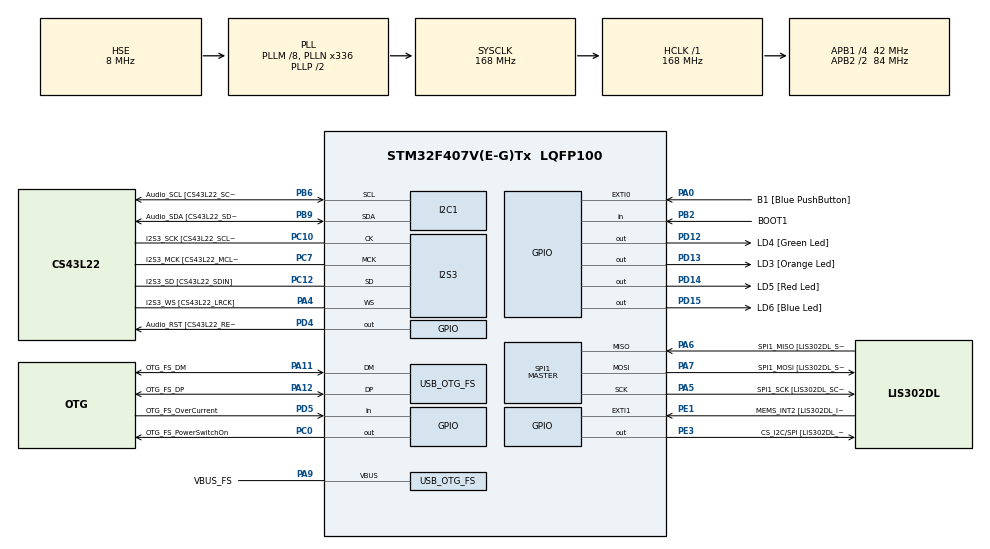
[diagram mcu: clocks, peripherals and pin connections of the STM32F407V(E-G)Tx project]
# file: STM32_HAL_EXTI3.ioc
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I2S3.AudioFreq-Half_Duplex_Master=I2S_AUDIOFREQ_96K
I2S3.ErrorAudioFreq=-2.34 %
I2S3.ErrorAudioFreq-Half_Duplex_Master=0.8 %
I2S3.FullDuplexMode=I2S_FULLDUPLEXMODE_DISABLE
I2S3.Instance=SPI$Index
I2S3.RealAudioFreq=93.75 KHz
I2S3.RealAudioFreq-Half_Duplex_Master=96.774 KHz
I2S3.VirtualMode=I2S_MODE_MASTER
Mcu.Family=STM32F4
Mcu.Name=STM32F407V(E-G)Tx
Mcu.Package=LQFP100
NVIC.EXTI0_IRQn=true\:0\:0\:false\:false\:true\:true\:true\:true
NVIC.OTG_FS_IRQn=true\:0\:0\:false\:false\:true\:true\:true\:true
NVIC.PriorityGroup=NVIC_PRIORITYGROUP_0
PA0-WKUP.GPIO_Label=B1 [Blue PushButton]
PA0-WKUP.GPIO_ModeDefaultEXTI=GPIO_MODE_IT_RISING_FALLING
PA0-WKUP.GPIO_PuPd=GPIO_PULLDOWN
PA0-WKUP.Signal=GPXTI0
PA10.GPIO_Label=OTG_FS_ID
PA10.GPIO_Mode=GPIO_MODE_AF_PP
PA10.GPIO_PuPd=GPIO_NOPULL
PA10.GPIO_Speed=GPIO_SPEED_FREQ_LOW
PA10.Signal=USB_OTG_FS_ID
PA11.GPIO_Label=OTG_FS_DM
PA11.GPIO_Mode=GPIO_MODE_AF_PP
PA11.GPIO_PuPd=GPIO_NOPULL
PA11.GPIO_Speed=GPIO_SPEED_FREQ_LOW
PA11.Mode=Host_Only
PA11.Signal=USB_OTG_FS_DM
PA12.GPIO_Label=OTG_FS_DP
PA12.GPIO_Mode=GPIO_MODE_AF_PP
PA12.GPIO_PuPd=GPIO_NOPULL
PA12.GPIO_Speed=GPIO_SPEED_FREQ_LOW
PA12.Mode=Host_Only
PA12.Signal=USB_OTG_FS_DP
PA13.GPIO_Label=SWDIO
PA13.Mode=Serial_Wire
PA13.Signal=SYS_JTMS-SWDIO
PA14.GPIO_Label=SWCLK
PA14.Mode=Serial_Wire
PA14.Signal=SYS_JTCK-SWCLK
PA4.GPIO_Label=I2S3_WS [CS43L22_LRCK]
PA4.GPIO_Mode=GPIO_MODE_AF_PP
PA4.GPIO_PuPd=GPIO_NOPULL
PA4.GPIO_Speed=GPIO_SPEED_FREQ_LOW
PA4.Mode=Half_Duplex_Master
PA4.Signal=I2S3_WS
PA5.GPIO_Label=SPI1_SCK [LIS302DL_SCL/SPC]
PA5.GPIO_Mode=GPIO_MODE_AF_PP
PA5.GPIO_PuPd=GPIO_NOPULL
PA5.GPIO_Speed=GPIO_SPEED_FREQ_LOW
PA5.Mode=Full_Duplex_Master
PA5.Signal=SPI1_SCK
PA6.GPIO_Label=SPI1_MISO [LIS302DL_SDO]
PA6.GPIO_Mode=GPIO_MODE_AF_PP
PA6.GPIO_PuPd=GPIO_NOPULL
PA6.GPIO_Speed=GPIO_SPEED_FREQ_LOW
PA6.Mode=Full_Duplex_Master
PA6.Signal=SPI1_MISO
PA7.GPIO_Label=SPI1_MOSI [LIS302DL_SDA/SDI/SDO]
PA7.GPIO_Mode=GPIO_MODE_AF_PP
PA7.GPIO_PuPd=GPIO_NOPULL
PA7.GPIO_Speed=GPIO_SPEED_FREQ_LOW
PA7.Mode=Full_Duplex_Master
PA7.Signal=SPI1_MOSI
PA9.GPIO_Label=VBUS_FS
PA9.GPIO_Mode=GPIO_MODE_INPUT
PA9.GPIO_PuPd=GPIO_NOPULL
PA9.Mode=Activate_VBUS
PA9.Signal=USB_OTG_FS_VBUS
PB10.GPIO_Label=CLK_IN [MP45DT02_CLK]
PB10.GPIO_Mode=GPIO_MODE_AF_PP
PB10.GPIO_PuPd=GPIO_NOPULL
PB10.GPIO_Speed=GPIO_SPEED_FREQ_LOW
PB10.Signal=I2S2_CK
PB2.GPIO_Label=BOOT1
PB2.GPIO_Mode=GPIO_MODE_INPUT
PB2.GPIO_PuPd=GPIO_NOPULL
PB2.Signal=GPIO_Input
PB3.GPIO_Label=SWO
PB3.Signal=SYS_JTDO-SWO
PB6.GPIO_Label=Audio_SCL [CS43L22_SCL]
PB6.GPIO_Mode=GPIO_MODE_AF_OD
PB6.GPIO_Pu=GPIO_PULLUP
PB6.GPIO_PuPd=GPIO_NOPULL
PB6.GPIO_Speed=GPIO_SPEED_FREQ_LOW
PB6.Mode=I2C
PB6.Signal=I2C1_SCL
PB9.GPIO_Label=Audio_SDA [CS43L22_SDA]
PB9.GPIO_Mode=GPIO_MODE_AF_OD
PB9.GPIO_Pu=GPIO_PULLUP
PB9.GPIO_PuPd=GPIO_NOPULL
PB9.GPIO_Speed=GPIO_SPEED_FREQ_LOW
PB9.Mode=I2C
PB9.Signal=I2C1_SDA
PC0.GPIO_Label=OTG_FS_PowerSwitchOn
PC0.GPIO_PuPd=GPIO_NOPULL
PC0.GPIO_Speed=GPIO_SPEED_FREQ_LOW
PC0.PinState=GPIO_PIN_SET
PC0.Signal=GPIO_Output
PC10.GPIO_Label=I2S3_SCK [CS43L22_SCLK]
PC10.GPIO_Mode=GPIO_MODE_AF_PP
PC10.GPIO_PuPd=GPIO_NOPULL
PC10.GPIO_Speed=GPIO_SPEED_FREQ_LOW
PC10.Mode=Half_Duplex_Master
PC10.Signal=I2S3_CK
PC12.GPIO_Label=I2S3_SD [CS43L22_SDIN]
PC12.GPIO_Mode=GPIO_MODE_AF_PP
PC12.GPIO_PuPd=GPIO_NOPULL
PC12.GPIO_Speed=GPIO_SPEED_FREQ_LOW
PC12.Mode=Half_Duplex_Master
PC12.Signal=I2S3_SD
PC14-OSC32_IN.GPIO_Label=PC14-OSC32_IN
PC14-OSC32_IN.Mode=LSE-External-Oscillator
PC14-OSC32_IN.Signal=RCC_OSC32_IN
PC15-OSC32_OUT.GPIO_Label=PC15-OSC32_OUT
PC15-OSC32_OUT.Mode=LSE-External-Oscillator
PC15-OSC32_OUT.Signal=RCC_OSC32_OUT
PC3.GPIO_Label=PDM_OUT [MP45DT02_DOUT]
PC3.GPIO_Mode=GPIO_MODE_AF_PP
PC3.GPIO_PuPd=GPIO_NOPULL
PC3.GPIO_Speed=GPIO_SPEED_FREQ_LOW
PC3.Signal=I2S2_SD
PC7.GPIO_Label=I2S3_MCK [CS43L22_MCLK]
PC7.GPIO_Mode=GPIO_MODE_AF_PP
PC7.GPIO_PuPd=GPIO_NOPULL
PC7.GPIO_Speed=GPIO_SPEED_FREQ_LOW
PC7.Mode=Master_Clock_Activated
PC7.Signal=I2S3_MCK
PD12.GPIO_Label=LD4 [Green Led]
PD12.GPIO_PuPd=GPIO_NOPULL
PD12.GPIO_Speed=GPIO_SPEED_FREQ_LOW
PD12.Signal=GPIO_Output
PD13.GPIO_Label=LD3 [Orange Led]
PD13.GPIO_PuPd=GPIO_NOPULL
PD13.GPIO_Speed=GPIO_SPEED_FREQ_LOW
PD13.Signal=GPIO_Output
PD14.GPIO_Label=LD5 [Red Led]
PD14.GPIO_PuPd=GPIO_NOPULL
PD14.GPIO_Speed=GPIO_SPEED_FREQ_LOW
PD14.Signal=GPIO_Output
PD15.GPIO_Label=LD6 [Blue Led]
PD15.GPIO_PuPd=GPIO_NOPULL
PD15.GPIO_Speed=GPIO_SPEED_FREQ_LOW
PD15.Signal=GPIO_Output
PD4.GPIO_Label=Audio_RST [CS43L22_RESET]
PD4.GPIO_PuPd=GPIO_NOPULL
PD4.GPIO_Speed=GPIO_SPEED_FREQ_LOW
PD4.Signal=GPIO_Output
PD5.GPIO_Label=OTG_FS_OverCurrent
PD5.GPIO_Mode=GPIO_MODE_INPUT
PD5.GPIO_PuPd=GPIO_NOPULL
PD5.Signal=GPIO_Input
PE1.GPIO_Label=MEMS_INT2 [LIS302DL_INT2]
PE1.GPIO_ModeDefaultEXTI=GPIO_MODE_EVT_RISING
PE1.GPIO_PuPd=GPIO_NOPULL
PE1.Signal=GPXTI1
PE3.GPIO_Label=CS_I2C/SPI [LIS302DL_CS_I2C/SPI]
PE3.GPIO_PuPd=GPIO_NOPULL
PE3.GPIO_Speed=GPIO_SPEED_FREQ_LOW
PE3.Signal=GPIO_Output
PH0-OSC_IN.GPIO_Label=PH0-OSC_IN
PH0-OSC_IN.Mode=HSE-External-Oscillator
PH0-OSC_IN.Signal=RCC_OSC_IN
PH1-OSC_OUT.GPIO_Label=PH1-OSC_OUT
PH1-OSC_OUT.Mode=HSE-External-Oscillator
PH1-OSC_OUT.Signal=RCC_OSC_OUT
ProjectManager.HeapSize=0x200
ProjectManager.StackSize=0x400
ProjectManager.TargetToolchain=STM32CubeIDE
RCC.48MHZClocksFreq_Value=48000000
RCC.AHBFreq_Value=168000000
RCC.APB1CLKDivider=RCC_HCLK_DIV4
RCC.APB1Freq_Value=42000000
RCC.APB1TimFreq_Value=84000000
RCC.APB2CLKDivider=RCC_HCLK_DIV2
RCC.APB2Freq_Value=84000000
RCC.APB2TimFreq_Value=168000000
RCC.CortexFreq_Value=168000000
RCC.HCLKFreq_Value=168000000
RCC.HSE_VALUE=8000000
RCC.HSI_VALUE=16000000
RCC.PLLM=8
RCC.PLLN=336
RCC.PLLQ=7
RCC.SYSCLKFreq_VALUE=168000000
RCC.SYSCLKSource=RCC_SYSCLKSOURCE_PLLCLK
RCC.VCOOutputFreq_Value=336000000
SPI1.BaudRatePrescaler-Full_Duplex_Master=SPI_BAUDRATEPRESCALER_2
SPI1.CalculateBaudRate-Full_Duplex_Master=42.0 MBits/s
SPI1.Direction=SPI_DIRECTION_2LINES
SPI1.Mode=SPI_MODE_MASTER
SPI1.Mode-Full_Duplex_Master=SPI_MODE_MASTER
SPI1.VirtualType=VM_MASTER
USB_HOST.BSP.number=1
USB_HOST.USBH_HandleTypeDef-CDC_FS=hUsbHostFS
USB_HOST.VirtualModeFS=Cdc
USB_HOST0.BSP.STBoard=false
USB_HOST0.BSP.api=Unknown
USB_HOST0.BSP.instance=PC0
USB_HOST0.BSP.ip=GPIO
USB_HOST0.BSP.mode=Output
USB_HOST0.BSP.name=Drive_VBUS_FS
USB_HOST0.BSP.solution=PC0
USB_OTG_FS.VirtualMode=Host_Only
USB_OTG_FS.phy_itface=HCD_PHY_EMBEDDED
VP_USB_HOST_VS_USB_HOST_CDC_FS.Mode=CDC_FS
board=STM32F407G-DISC1

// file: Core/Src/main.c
/* USER CODE BEGIN Header */
/**
  ******************************************************************************
  * @file           : main.c
  * @brief          : Main program body
  ******************************************************************************
  * @attention
  *
  * Copyright (c) 2023 STMicroelectronics.
  * All rights reserved.
  *
  * This software is licensed under terms that can be found in the LICENSE file
  * in the root directory of this software component.
  * If no LICENSE file comes with this software, it is provided AS-IS.
  *
  ******************************************************************************
  */
/* USER CODE END Header */
#include "main.h"
#include "usb_host.h"

I2C_HandleTypeDef hi2c1;

I2S_HandleTypeDef hi2s3;

SPI_HandleTypeDef hspi1;

void SystemClock_Config(void);
static void MX_GPIO_Init(void);
static void MX_I2C1_Init(void);
static void MX_I2S3_Init(void);
static void MX_SPI1_Init(void);
void MX_USB_HOST_Process(void);

/* USER CODE BEGIN PFP */
int count = 0;
int i = 0;
/* USER CODE END PFP */

/* USER CODE BEGIN 0 */
void HAL_GPIO_EXTI_Callback(uint16_t GPIO_Pin)
{
	if(HAL_GPIO_ReadPin(GPIOA,GPIO_PIN_0))
	{
		if(i == 0)
		{
			count = 500;
			HAL_GPIO_WritePin(GPIOD,GPIO_PIN_13,1);
			i++;
		}
		else if(i == 1)
		{
			count = 1000;
			HAL_GPIO_WritePin(GPIOD,GPIO_PIN_13,1);
			i--;
		}

	}
	else
	{
		HAL_GPIO_WritePin(GPIOD,GPIO_PIN_13,0);
	}
}
/* USER CODE END 0 */

int main(void)
{

  /* MCU Configuration--------------------------------------------------------*/

  /* Reset of all peripherals, Initializes the Flash interface and the Systick. */
  HAL_Init();

  /* Configure the system clock */
  SystemClock_Config();

  /* Initialize all configured peripherals */
  MX_GPIO_Init();
  MX_I2C1_Init();
  MX_I2S3_Init();
  MX_SPI1_Init();
  MX_USB_HOST_Init();

  /* Infinite loop */
  while (1)
  {
    MX_USB_HOST_Process();

    /* USER CODE BEGIN 3 */
    HAL_GPIO_TogglePin(GPIOD,GPIO_PIN_12);
    HAL_Delay(count);
  }
  /* USER CODE END 3 */
}

void SystemClock_Config(void)
{
  RCC_OscInitTypeDef RCC_OscInitStruct = {0};
  RCC_ClkInitTypeDef RCC_ClkInitStruct = {0};

  /** Configure the main internal regulator output voltage
  */
  __HAL_RCC_PWR_CLK_ENABLE();
  __HAL_PWR_VOLTAGESCALING_CONFIG(PWR_REGULATOR_VOLTAGE_SCALE1);

  /** Initializes the RCC Oscillators according to the specified parameters
  * in the RCC_OscInitTypeDef structure.
  */
  RCC_OscInitStruct.OscillatorType = RCC_OSCILLATORTYPE_HSE;
  RCC_OscInitStruct.HSEState = RCC_HSE_ON;
  RCC_OscInitStruct.PLL.PLLState = RCC_PLL_ON;
  RCC_OscInitStruct.PLL.PLLSource = RCC_PLLSOURCE_HSE;
  RCC_OscInitStruct.PLL.PLLM = 8;
  RCC_OscInitStruct.PLL.PLLN = 336;
  RCC_OscInitStruct.PLL.PLLP = RCC_PLLP_DIV2;
  RCC_OscInitStruct.PLL.PLLQ = 7;
  if (HAL_RCC_OscConfig(&RCC_OscInitStruct) != HAL_OK)
  {
    Error_Handler();
  }

  /** Initializes the CPU, AHB and APB buses clocks
  */
  RCC_ClkInitStruct.ClockType = RCC_CLOCKTYPE_HCLK|RCC_CLOCKTYPE_SYSCLK
                              |RCC_CLOCKTYPE_PCLK1|RCC_CLOCKTYPE_PCLK2;
  RCC_ClkInitStruct.SYSCLKSource = RCC_SYSCLKSOURCE_PLLCLK;
  RCC_ClkInitStruct.AHBCLKDivider = RCC_SYSCLK_DIV1;
  RCC_ClkInitStruct.APB1CLKDivider = RCC_HCLK_DIV4;
  RCC_ClkInitStruct.APB2CLKDivider = RCC_HCLK_DIV2;

  if (HAL_RCC_ClockConfig(&RCC_ClkInitStruct, FLASH_LATENCY_5) != HAL_OK)
  {
    Error_Handler();
  }
}

static void MX_I2C1_Init(void)
{

  hi2c1.Instance = I2C1;
  hi2c1.Init.ClockSpeed = 100000;
  hi2c1.Init.DutyCycle = I2C_DUTYCYCLE_2;
  hi2c1.Init.OwnAddress1 = 0;
  hi2c1.Init.AddressingMode = I2C_ADDRESSINGMODE_7BIT;
  hi2c1.Init.DualAddressMode = I2C_DUALADDRESS_DISABLE;
  hi2c1.Init.OwnAddress2 = 0;
  hi2c1.Init.GeneralCallMode = I2C_GENERALCALL_DISABLE;
  hi2c1.Init.NoStretchMode = I2C_NOSTRETCH_DISABLE;
  if (HAL_I2C_Init(&hi2c1) != HAL_OK)
  {
    Error_Handler();
  }

}

static void MX_I2S3_Init(void)
{

  hi2s3.Instance = SPI3;
  hi2s3.Init.Mode = I2S_MODE_MASTER_TX;
  hi2s3.Init.Standard = I2S_STANDARD_PHILIPS;
  hi2s3.Init.DataFormat = I2S_DATAFORMAT_16B;
  hi2s3.Init.MCLKOutput = I2S_MCLKOUTPUT_ENABLE;
  hi2s3.Init.AudioFreq = I2S_AUDIOFREQ_96K;
  hi2s3.Init.CPOL = I2S_CPOL_LOW;
  hi2s3.Init.ClockSource = I2S_CLOCK_PLL;
  hi2s3.Init.FullDuplexMode = I2S_FULLDUPLEXMODE_DISABLE;
  if (HAL_I2S_Init(&hi2s3) != HAL_OK)
  {
    Error_Handler();
  }

}

static void MX_SPI1_Init(void)
{

  /* SPI1 parameter configuration*/
  hspi1.Instance = SPI1;
  hspi1.Init.Mode = SPI_MODE_MASTER;
  hspi1.Init.Direction = SPI_DIRECTION_2LINES;
  hspi1.Init.DataSize = SPI_DATASIZE_8BIT;
  hspi1.Init.CLKPolarity = SPI_POLARITY_LOW;
  hspi1.Init.CLKPhase = SPI_PHASE_1EDGE;
  hspi1.Init.NSS = SPI_NSS_SOFT;
  hspi1.Init.BaudRatePrescaler = SPI_BAUDRATEPRESCALER_2;
  hspi1.Init.FirstBit = SPI_FIRSTBIT_MSB;
  hspi1.Init.TIMode = SPI_TIMODE_DISABLE;
  hspi1.Init.CRCCalculation = SPI_CRCCALCULATION_DISABLE;
  hspi1.Init.CRCPolynomial = 10;
  if (HAL_SPI_Init(&hspi1) != HAL_OK)
  {
    Error_Handler();
  }

}

static void MX_GPIO_Init(void)
{
  GPIO_InitTypeDef GPIO_InitStruct = {0};

  /* GPIO Ports Clock Enable */
  __HAL_RCC_GPIOE_CLK_ENABLE();
  __HAL_RCC_GPIOC_CLK_ENABLE();
  __HAL_RCC_GPIOH_CLK_ENABLE();
  __HAL_RCC_GPIOA_CLK_ENABLE();
  __HAL_RCC_GPIOB_CLK_ENABLE();
  __HAL_RCC_GPIOD_CLK_ENABLE();

  /*Configure GPIO pin Output Level */
  HAL_GPIO_WritePin(CS_I2C_SPI_GPIO_Port, CS_I2C_SPI_Pin, GPIO_PIN_RESET);

  /*Configure GPIO pin Output Level */
  HAL_GPIO_WritePin(OTG_FS_PowerSwitchOn_GPIO_Port, OTG_FS_PowerSwitchOn_Pin, GPIO_PIN_SET);

  /*Configure GPIO pin Output Level */
  HAL_GPIO_WritePin(GPIOD, LD4_Pin|LD3_Pin|LD5_Pin|LD6_Pin
                          |Audio_RST_Pin, GPIO_PIN_RESET);

  /*Configure GPIO pin : CS_I2C_SPI_Pin */
  GPIO_InitStruct.Pin = CS_I2C_SPI_Pin;
  GPIO_InitStruct.Mode = GPIO_MODE_OUTPUT_PP;
  GPIO_InitStruct.Pull = GPIO_NOPULL;
  GPIO_InitStruct.Speed = GPIO_SPEED_FREQ_LOW;
  HAL_GPIO_Init(CS_I2C_SPI_GPIO_Port, &GPIO_InitStruct);

  /*Configure GPIO pin : OTG_FS_PowerSwitchOn_Pin */
  GPIO_InitStruct.Pin = OTG_FS_PowerSwitchOn_Pin;
  GPIO_InitStruct.Mode = GPIO_MODE_OUTPUT_PP;
  GPIO_InitStruct.Pull = GPIO_NOPULL;
  GPIO_InitStruct.Speed = GPIO_SPEED_FREQ_LOW;
  HAL_GPIO_Init(OTG_FS_PowerSwitchOn_GPIO_Port, &GPIO_InitStruct);

  /*Configure GPIO pin : PDM_OUT_Pin */
  GPIO_InitStruct.Pin = PDM_OUT_Pin;
  GPIO_InitStruct.Mode = GPIO_MODE_AF_PP;
  GPIO_InitStruct.Pull = GPIO_NOPULL;
  GPIO_InitStruct.Speed = GPIO_SPEED_FREQ_LOW;
  GPIO_InitStruct.Alternate = GPIO_AF5_SPI2;
  HAL_GPIO_Init(PDM_OUT_GPIO_Port, &GPIO_InitStruct);

  /*Configure GPIO pin : B1_Pin */
  GPIO_InitStruct.Pin = B1_Pin;
  GPIO_InitStruct.Mode = GPIO_MODE_IT_RISING_FALLING;
  GPIO_InitStruct.Pull = GPIO_PULLDOWN;
  HAL_GPIO_Init(B1_GPIO_Port, &GPIO_InitStruct);

  /*Configure GPIO pin : BOOT1_Pin */
  GPIO_InitStruct.Pin = BOOT1_Pin;
  GPIO_InitStruct.Mode = GPIO_MODE_INPUT;
  GPIO_InitStruct.Pull = GPIO_NOPULL;
  HAL_GPIO_Init(BOOT1_GPIO_Port, &GPIO_InitStruct);

  /*Configure GPIO pin : CLK_IN_Pin */
  GPIO_InitStruct.Pin = CLK_IN_Pin;
  GPIO_InitStruct.Mode = GPIO_MODE_AF_PP;
  GPIO_InitStruct.Pull = GPIO_NOPULL;
  GPIO_InitStruct.Speed = GPIO_SPEED_FREQ_LOW;
  GPIO_InitStruct.Alternate = GPIO_AF5_SPI2;
  HAL_GPIO_Init(CLK_IN_GPIO_Port, &GPIO_InitStruct);

  /*Configure GPIO pins : LD4_Pin LD3_Pin LD5_Pin LD6_Pin
                           Audio_RST_Pin */
  GPIO_InitStruct.Pin = LD4_Pin|LD3_Pin|LD5_Pin|LD6_Pin
                          |Audio_RST_Pin;
  GPIO_InitStruct.Mode = GPIO_MODE_OUTPUT_PP;
  GPIO_InitStruct.Pull = GPIO_NOPULL;
  GPIO_InitStruct.Speed = GPIO_SPEED_FREQ_LOW;
  HAL_GPIO_Init(GPIOD, &GPIO_InitStruct);

  /*Configure GPIO pin : OTG_FS_OverCurrent_Pin */
  GPIO_InitStruct.Pin = OTG_FS_OverCurrent_Pin;
  GPIO_InitStruct.Mode = GPIO_MODE_INPUT;
  GPIO_InitStruct.Pull = GPIO_NOPULL;
  HAL_GPIO_Init(OTG_FS_OverCurrent_GPIO_Port, &GPIO_InitStruct);

  /*Configure GPIO pin : MEMS_INT2_Pin */
  GPIO_InitStruct.Pin = MEMS_INT2_Pin;
  GPIO_InitStruct.Mode = GPIO_MODE_EVT_RISING;
  GPIO_InitStruct.Pull = GPIO_NOPULL;
  HAL_GPIO_Init(MEMS_INT2_GPIO_Port, &GPIO_InitStruct);

  /* EXTI interrupt init*/
  HAL_NVIC_SetPriority(EXTI0_IRQn, 0, 0);
  HAL_NVIC_EnableIRQ(EXTI0_IRQn);

}

void Error_Handler(void)
{
  __disable_irq();
  while (1)
  {
  }
}
